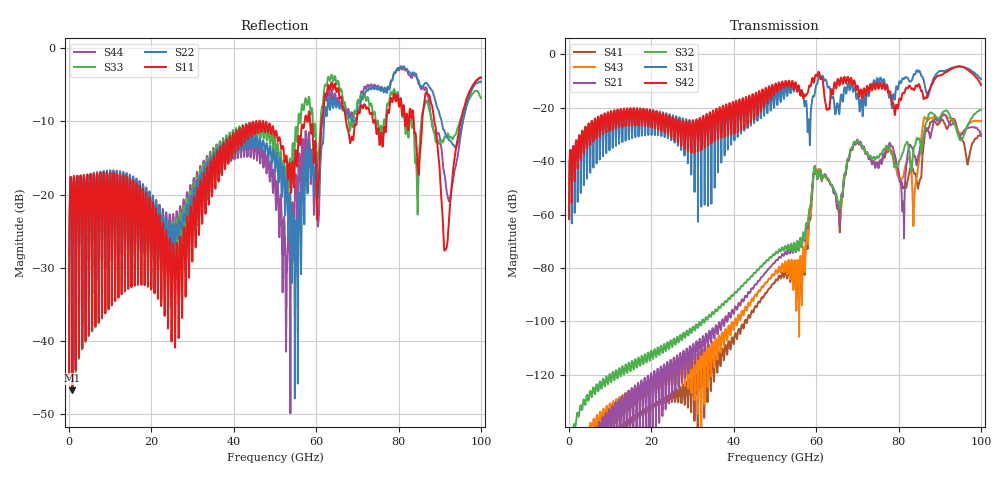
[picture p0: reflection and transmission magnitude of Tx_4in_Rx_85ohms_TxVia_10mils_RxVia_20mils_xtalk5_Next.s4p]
! Info: Touchstone file created by Circ.  Input file=Tx_4in_Rx_85ohms_TxVia_10mils_RxVia_20mils.circ
# Hz S RI R 50
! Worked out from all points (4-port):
!   10000 points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, 10 MHz to 100 GHz, reference 50 ohm
!   strongest paths, dB at 10 MHz, 25.01 GHz, 50.01 GHz, 75.01 GHz, 100 GHz:
!     S42: -61.6, -25.8, -11.8, -12.2, -11.5
!     S31: -61.6, -25.1, -14.8, -9.7, -9.3
!     S32: -177.7, -109.5, -74.8, -38.7, -20.8
!     S21: -, -128.1, -77.8, -41.9, -30.5
!     S43: -154.4, -123.0, -81.5, -40.9, -25.0
!     S41: -154.6, -129.8, -85.0, -41.7, -29.8
!   lowest |S11| = -46.7 dB at 800 MHz (marker M1), VSWR 1.01, Z = 49.6 - j0.144 ohm
!   |S11| at or under -10 dB: start of sweep to 45.41 GHz; 47.12 GHz to 57.2 GHz (10.08 GHz wide, 19.3 % of centre); 88.7 GHz to 95.14 GHz (6.442 GHz wide, 7.01 % of centre) (the widest 3 of 13)
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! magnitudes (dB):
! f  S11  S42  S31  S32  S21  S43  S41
! 10 MHz  -44.9  -61.6  -61.6  -177.7  -  -154.4  -154.6
! 800 MHz  -46.7  -39.3  -39.3  -144.8  -173.5  -179.2  -173.3
! 55.52 GHz  -14.4  -13.0  -13.8  -70.4  -71.7  -77.0  -80.3
! 59.74 GHz  -12.6  -8.2  -13.9  -42.7  -42.3  -42.6  -42.5
! 81.09 GHz  -8.3  -14.4  -9.1  -36.7  -55.2  -46.1  -50.2
! 91.46 GHz  -27.5  -6.7  -6.1  -21.0  -22.9  -22.8  -26.9
! 100 GHz  -4.1  -11.5  -9.3  -20.8  -30.5  -25.0  -29.8
